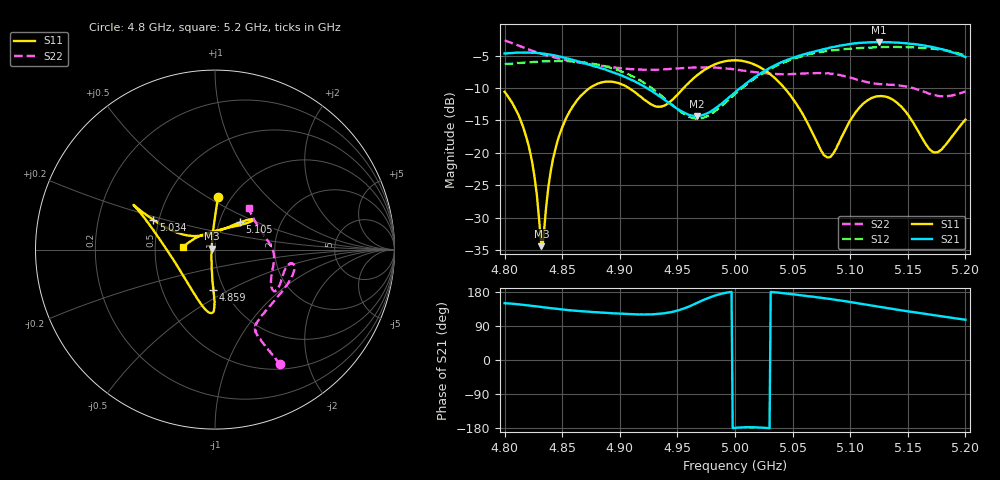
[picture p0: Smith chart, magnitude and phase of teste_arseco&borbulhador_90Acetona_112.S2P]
! Network Analyzer HP8722D
! Hewlett-Packard
! Data name: Linha & Wilkinson
! Saver's name: Rodrigo Anjos
! Comments: Teste da utilização de aquisição
! continua pelo VNA HP8722D
! Time and date: 17/4/2025 11:59
!  Frequency  S11  S21  S12  S22
# HZ  S  MA R 50
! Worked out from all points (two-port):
!   401 points, 4.8 GHz to 5.2 GHz, reference 50 ohm
!   highest |S21| = -2.90 dB at 5.125 GHz (marker M1); lowest = -14.3 dB at 4.967 GHz (marker M2)
!   |S21| within 3 dB of the highest: start of sweep to 4.864 GHz; 5.042 GHz to end of sweep
!   lowest |S11| = -34.4 dB at 4.832 GHz (marker M3), VSWR 1.04, Z = 48.2 + j0.572 ohm
!   |S11| at or under -10 dB: start of sweep to 4.874 GHz; 4.908 GHz to 4.955 GHz (47.65 MHz wide, 0.966 % of centre); 5.043 GHz to end of sweep
!   |S22| runs from -11.3 to -2.7 dB; largest |S21 - S12| = 1.3
!   S11 on the Smith chart (normalised r, x): 4.8 GHz: 0.87, +0.56; 4.859 GHz: 0.89, -0.42; 5.034 GHz: 0.47, +0.18; 5.105 GHz: 1.26, +0.40; 5.2 GHz: 0.70, +0.02
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4.8e9  0.2957 86.6  0.5843 150.0  0.4836 -111.6  0.7358 -60.3
4.811e9  0.2044 89.2  0.5931 147.2  0.494 -111.4  0.6766 -61.1
4.82e9  0.1208 94.1  0.593 144.5  0.4997 -110.8  0.632 -62.0
4.826e9  0.06483 103.0  0.591 142.0  0.5022 -110.4  0.6042 -62.4
4.832e9  0.01903 161.9  0.5847 139.7  0.5056 -110.0  0.5814 -62.9
4.834e9  0.02357 -146.3  0.5811 138.9  0.5063 -110.0  0.5736 -63.1
4.839e9  0.06289 -107.9  0.5727 137.2  0.5083 -109.5  0.5576 -63.4
4.844e9  0.1067 -100.1  0.5639 135.2  0.5085 -109.5  0.5419 -63.6
4.859e9  0.2271 -92.2  0.5221 130.6  0.5062 -109.1  0.5081 -63.8
4.867e9  0.2796 -90.7  0.4983 128.6  0.4987 -109.4  0.4932 -63.2
4.898e9  0.3467 -97.0  0.4066 122.6  0.434 -112.8  0.4525 -55.3
4.934e9  0.2268 -148.3  0.2746 121.8  0.2859 -116.0  0.4382 -34.7
4.967e9  0.3956 158.8  0.1921 150.7  0.1833 -85.6  0.4551 -17.4
5e9  0.5175 151.3  0.292 -179.2  0.284 -49.5  0.4388 -10.2
5.034e9  0.3817 154.1  0.4701 178.8  0.4601 -44.0  0.4058 -15.9
5.067e9  0.144 148.2  0.5985 167.2  0.5823 -47.4  0.4112 -30.1
5.082e9  0.09253 100.2  0.6471 161.4  0.6129 -50.3  0.4088 -34.4
5.105e9  0.2071 47.2  0.6993 150.5  0.6409 -55.3  0.3692 -32.2
5.125e9  0.274 38.1  0.7161 140.4  0.6528 -61.4  0.3397 -19.3
5.134e9  0.2655 37.5  0.7131 136.0  0.6543 -64.4  0.3355 -12.4
5.173e9  0.1009 102.6  0.6499 118.1  0.6343 -78.1  0.2788 20.5
5.2e9  0.1802 175.9  0.548 106.5  0.5621 -87.2  0.296 50.9
